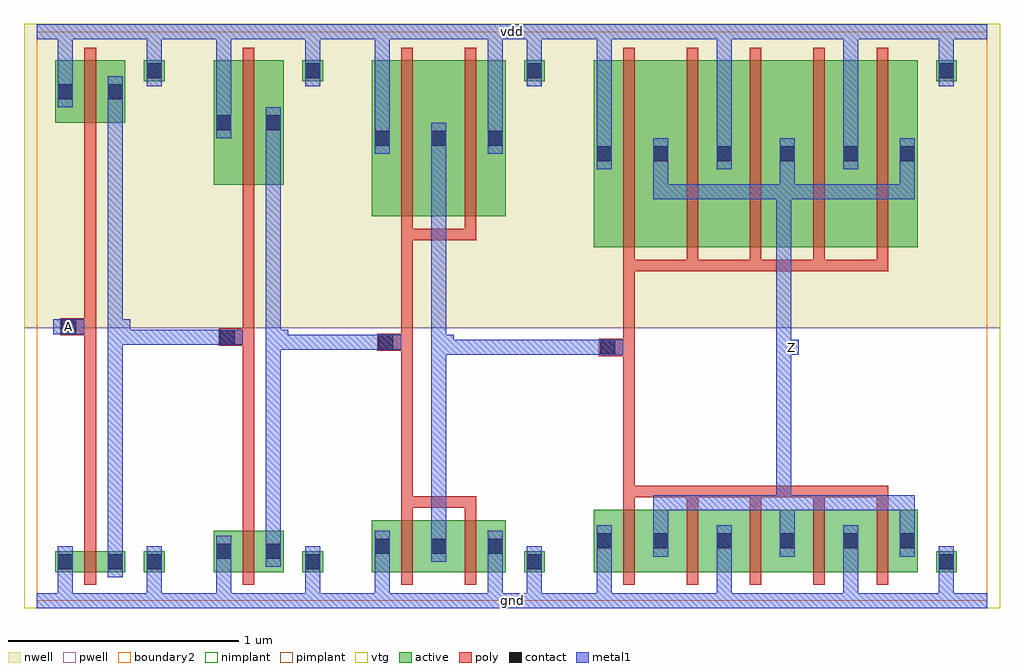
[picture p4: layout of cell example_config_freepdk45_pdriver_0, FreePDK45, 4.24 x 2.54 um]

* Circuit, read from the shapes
.subckt example_config_freepdk45_pdriver_0 A Z gnd vdd
M1 example_config_freepdk45_pinv_6_1/A A gnd gnd nfet w=0.09u l=0.05u
M2 example_config_freepdk45_pinv_7_2/A example_config_freepdk45_pinv_6_1/A gnd gnd nfet w=0.18u l=0.05u
M3 example_config_freepdk45_pinv_8_3/A example_config_freepdk45_pinv_7_2/A gnd gnd nfet w=0.225u l=0.05u m=2
M4 Z example_config_freepdk45_pinv_8_3/A gnd gnd nfet w=0.27u l=0.05u m=5
M5 example_config_freepdk45_pinv_6_1/A A vdd vdd pfet w=0.27u l=0.05u
M6 example_config_freepdk45_pinv_7_2/A example_config_freepdk45_pinv_6_1/A vdd vdd pfet w=0.54u l=0.05u
M7 example_config_freepdk45_pinv_8_3/A example_config_freepdk45_pinv_7_2/A vdd vdd pfet w=0.675u l=0.05u m=2
M8 Z example_config_freepdk45_pinv_8_3/A vdd vdd pfet w=0.81u l=0.05u m=5
.ends

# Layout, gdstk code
import gdstk
lib = gdstk.Library(unit=1e-6, precision=5e-10)
def R(c, l, rs):  # rectangles x0, y0, x1, y1
    for r in rs: c.add(gdstk.rectangle(r[:2], r[2:], *l))
def A(c, l, x, y, w, h, nx, ny, dx, dy):  # array of equal rectangles
    R(c, l, [(x+i*dx, y+j*dy, x+i*dx+w, y+j*dy+h) for i in range(nx) for j in range(ny)])
active = (1, 0)
pwell = (2, 0)
nwell = (3, 0)
nimplant = (4, 0)
pimplant = (5, 0)
vtg = (6, 0)
poly = (9, 0)
contact = (10, 0)
metal1 = (11, 0)
boundary2 = (239, 0)

example_config_freepdk45 = lib.new_cell('example_config_freepdk45_contact_11')
R(example_config_freepdk45, active, [(0,0.0225,0.09,0.1125)])
R(example_config_freepdk45, nwell, [(-0.055,-0.0325,0.145,0.1675)])
R(example_config_freepdk45, pimplant, [(0,0.0225,0.09,0.1125)])
R(example_config_freepdk45, contact, [(0.0125,0.035,0.0775,0.1)])
R(example_config_freepdk45, metal1, [(0.0125,0,0.0775,0.135)])
R(example_config_freepdk45, boundary2, [(-0.055,-0.0325,0.145,0.1675)])

c_example_config_freepdk45 = lib.new_cell('example_config_freepdk45_pmos_m1_w0_270_sm1_dm1_da_p')
R(c_example_config_freepdk45, active, [(0,0,0.305,0.27)])
R(c_example_config_freepdk45, nwell, [(-0.08,-0.08,0.385,0.35)])
R(c_example_config_freepdk45, pimplant, [(0,0,0.305,0.27)])
R(c_example_config_freepdk45, vtg, [(-0.08,-0.08,0.385,0.35)])
R(c_example_config_freepdk45, poly, [(0.1275,-0.055,0.1775,0.325), (0.1275,-0.055,0.1775,0.325)])
R(c_example_config_freepdk45, metal1, [(0.0125,0.0675,0.0775,0.2025), (0.2275,0.0675,0.2925,0.2025)])
R(c_example_config_freepdk45, boundary2, [(-0.08,-0.08,0.385,0.35)])
c_example_config_freepdk45.add(gdstk.Reference(example_config_freepdk45, (0,0.0675)))
c_example_config_freepdk45.add(gdstk.Reference(example_config_freepdk45, (0.215,0.0675)))
c_example_config_freepdk45.add(gdstk.Label('G', (0.1525,0.135), layer=9, texttype=0))
c_example_config_freepdk45.add(gdstk.Label('S', (0.045,0.135), layer=11, texttype=0))
c_example_config_freepdk45.add(gdstk.Label('D', (0.26,0.135), layer=11, texttype=0))

c_example_config_freepdk45_ = lib.new_cell('example_config_freepdk45_contact_10')
R(c_example_config_freepdk45_, active, [(0,0.0225,0.09,0.1125)])
R(c_example_config_freepdk45_, pwell, [(-0.055,-0.0325,0.145,0.1675)])
R(c_example_config_freepdk45_, nimplant, [(0,0.0225,0.09,0.1125)])
R(c_example_config_freepdk45_, contact, [(0.0125,0.035,0.0775,0.1)])
R(c_example_config_freepdk45_, metal1, [(0.0125,0,0.0775,0.135)])
R(c_example_config_freepdk45_, boundary2, [(-0.055,-0.0325,0.145,0.1675)])

c_example_config_freepdk45__ = lib.new_cell('example_config_freepdk45_nmos_m1_w0_090_sm1_dm1_da_p')
R(c_example_config_freepdk45__, active, [(0,0,0.305,0.09)])
R(c_example_config_freepdk45__, pwell, [(-0.08,-0.08,0.385,0.17)])
R(c_example_config_freepdk45__, nimplant, [(0,0,0.305,0.09)])
R(c_example_config_freepdk45__, vtg, [(-0.08,-0.08,0.385,0.17)])
R(c_example_config_freepdk45__, poly, [(0.1275,-0.055,0.1775,0.145), (0.1275,-0.055,0.1775,0.145)])
R(c_example_config_freepdk45__, metal1, [(0.0125,-0.0225,0.0775,0.1125), (0.2275,-0.0225,0.2925,0.1125)])
R(c_example_config_freepdk45__, boundary2, [(-0.08,-0.08,0.385,0.17)])
c_example_config_freepdk45__.add(gdstk.Reference(c_example_config_freepdk45_, (0,-0.0225)))
c_example_config_freepdk45__.add(gdstk.Reference(c_example_config_freepdk45_, (0.215,-0.0225)))
c_example_config_freepdk45__.add(gdstk.Label('G', (0.1525,0.045), layer=9, texttype=0))
c_example_config_freepdk45__.add(gdstk.Label('S', (0.045,0.045), layer=11, texttype=0))
c_example_config_freepdk45__.add(gdstk.Label('D', (0.26,0.045), layer=11, texttype=0))

c_example_config_freepdk45___ = lib.new_cell('example_config_freepdk45_contact_12')
R(c_example_config_freepdk45___, active, [(0,0.0225,0.09,0.1125)])
R(c_example_config_freepdk45___, nwell, [(-0.055,-0.0325,0.145,0.1675)])
R(c_example_config_freepdk45___, nimplant, [(0,0.0225,0.09,0.1125)])
R(c_example_config_freepdk45___, contact, [(0.0125,0.035,0.0775,0.1)])
R(c_example_config_freepdk45___, metal1, [(0.0125,0,0.0775,0.135)])
R(c_example_config_freepdk45___, boundary2, [(-0.055,-0.0325,0.145,0.1675)])

c_example_config_freepdk45____ = lib.new_cell('example_config_freepdk45_contact_13')
R(c_example_config_freepdk45____, active, [(0,0.0225,0.09,0.1125)])
R(c_example_config_freepdk45____, pwell, [(-0.055,-0.0325,0.145,0.1675)])
R(c_example_config_freepdk45____, pimplant, [(0,0.0225,0.09,0.1125)])
R(c_example_config_freepdk45____, contact, [(0.0125,0.035,0.0775,0.1)])
R(c_example_config_freepdk45____, metal1, [(0.0125,0,0.0775,0.135)])
R(c_example_config_freepdk45____, boundary2, [(-0.055,-0.0325,0.145,0.1675)])

c_example_config_freepdk45_____ = lib.new_cell('example_config_freepdk45_contact_14')
R(c_example_config_freepdk45_____, poly, [(0.03,0,0.105,0.075)])
R(c_example_config_freepdk45_____, contact, [(0.035,0.005,0.1,0.07)])
R(c_example_config_freepdk45_____, metal1, [(0,0.005,0.135,0.07)])
R(c_example_config_freepdk45_____, boundary2, [(0,0,0.135,0.075)])

c_example_config_freepdk45______ = lib.new_cell('example_config_freepdk45_pinv_5')
R(c_example_config_freepdk45______, pwell, [(-0.055,-0.0325,0.7425,1.185)])
R(c_example_config_freepdk45______, nwell, [(-0.055,1.185,0.7425,2.505)])
R(c_example_config_freepdk45______, vtg, [(-0.055,-0.0325,0.7425,1.185), (-0.055,1.185,0.7425,2.505)])
R(c_example_config_freepdk45______, poly, [(0.2075,0.27,0.2575,2.02), (0.14,1.1525,0.2075,1.2275)])
R(c_example_config_freepdk45______, metal1, [(0,-0.0325,0.6875,0.0325), (0.0925,-0.0325,0.1575,0.1025), (0.4775,0,0.5425,0.17), (0.3075,0.1025,0.3725,2.2775), (0.0725,1.1575,0.2075,1.2225), (0.34,1.1575,0.405,1.2225), (0.0925,2.1425,0.1575,2.5025), (0.4775,2.3,0.5425,2.47), (0,2.4375,0.6875,2.5025)])
R(c_example_config_freepdk45______, boundary2, [(0,0,0.6875,2.47), (0,0,0.6875,2.47)])
c_example_config_freepdk45______.add(gdstk.Reference(c_example_config_freepdk45, (0.08,2.075)))
c_example_config_freepdk45______.add(gdstk.Reference(c_example_config_freepdk45__, (0.08,0.125)))
c_example_config_freepdk45______.add(gdstk.Reference(c_example_config_freepdk45___, (0.465,2.2325)))
c_example_config_freepdk45______.add(gdstk.Reference(c_example_config_freepdk45____, (0.465,0.1025)))
c_example_config_freepdk45______.add(gdstk.Reference(c_example_config_freepdk45_____, (0.0725,1.1525)))
c_example_config_freepdk45______.add(gdstk.Label('A', (0.14,1.19), layer=11, texttype=0))
c_example_config_freepdk45______.add(gdstk.Label('Z', (0.3725,1.19), layer=11, texttype=0))
c_example_config_freepdk45______.add(gdstk.Label('gnd', (0.344,0), layer=11, texttype=0))
c_example_config_freepdk45______.add(gdstk.Label('vdd', (0.344,2.47), layer=11, texttype=0))

c_example_config_freepdk45_______ = lib.new_cell('example_config_freepdk45_pmos_m1_w0_540_sm1_dm1_da_p')
R(c_example_config_freepdk45_______, active, [(0,0,0.305,0.54)])
R(c_example_config_freepdk45_______, nwell, [(-0.08,-0.08,0.385,0.62)])
R(c_example_config_freepdk45_______, pimplant, [(0,0,0.305,0.54)])
R(c_example_config_freepdk45_______, vtg, [(-0.08,-0.08,0.385,0.62)])
R(c_example_config_freepdk45_______, poly, [(0.1275,-0.055,0.1775,0.595), (0.1275,-0.055,0.1775,0.595)])
R(c_example_config_freepdk45_______, metal1, [(0.0125,0.2025,0.0775,0.3375), (0.2275,0.2025,0.2925,0.3375)])
R(c_example_config_freepdk45_______, boundary2, [(-0.08,-0.08,0.385,0.62)])
c_example_config_freepdk45_______.add(gdstk.Reference(example_config_freepdk45, (0,0.2025)))
c_example_config_freepdk45_______.add(gdstk.Reference(example_config_freepdk45, (0.215,0.2025)))
c_example_config_freepdk45_______.add(gdstk.Label('G', (0.1525,0.27), layer=9, texttype=0))
c_example_config_freepdk45_______.add(gdstk.Label('S', (0.045,0.27), layer=11, texttype=0))
c_example_config_freepdk45_______.add(gdstk.Label('D', (0.26,0.27), layer=11, texttype=0))

c_example_config_freepdk45________ = lib.new_cell('example_config_freepdk45_nmos_m1_w0_180_sm1_dm1_da_p')
R(c_example_config_freepdk45________, active, [(0,0,0.305,0.18)])
R(c_example_config_freepdk45________, pwell, [(-0.08,-0.08,0.385,0.26)])
R(c_example_config_freepdk45________, nimplant, [(0,0,0.305,0.18)])
R(c_example_config_freepdk45________, vtg, [(-0.08,-0.08,0.385,0.26)])
R(c_example_config_freepdk45________, poly, [(0.1275,-0.055,0.1775,0.235), (0.1275,-0.055,0.1775,0.235)])
R(c_example_config_freepdk45________, metal1, [(0.0125,0.0225,0.0775,0.1575), (0.2275,0.0225,0.2925,0.1575)])
R(c_example_config_freepdk45________, boundary2, [(-0.08,-0.08,0.385,0.26)])
c_example_config_freepdk45________.add(gdstk.Reference(c_example_config_freepdk45_, (0,0.0225)))
c_example_config_freepdk45________.add(gdstk.Reference(c_example_config_freepdk45_, (0.215,0.0225)))
c_example_config_freepdk45________.add(gdstk.Label('G', (0.1525,0.09), layer=9, texttype=0))
c_example_config_freepdk45________.add(gdstk.Label('S', (0.045,0.09), layer=11, texttype=0))
c_example_config_freepdk45________.add(gdstk.Label('D', (0.26,0.09), layer=11, texttype=0))

c_example_config_freepdk45_________ = lib.new_cell('example_config_freepdk45_pinv_6')
R(c_example_config_freepdk45_________, pwell, [(-0.055,-0.0325,0.7425,1.185)])
R(c_example_config_freepdk45_________, nwell, [(-0.055,1.185,0.7425,2.505)])
R(c_example_config_freepdk45_________, vtg, [(-0.055,-0.0325,0.7425,1.185), (-0.055,1.185,0.7425,2.505)])
R(c_example_config_freepdk45_________, poly, [(0.2075,0.36,0.2575,1.75), (0.14,1.1075,0.2075,1.1825)])
R(c_example_config_freepdk45_________, metal1, [(0,-0.0325,0.6875,0.0325), (0.0925,-0.0325,0.1575,0.1475), (0.4775,0,0.5425,0.17), (0.3075,0.1475,0.3725,2.1425), (0.0725,1.1125,0.2075,1.1775), (0.34,1.1125,0.405,1.1775), (0.0925,2.0075,0.1575,2.5025), (0.4775,2.3,0.5425,2.47), (0,2.4375,0.6875,2.5025)])
R(c_example_config_freepdk45_________, boundary2, [(0,0,0.6875,2.47), (0,0,0.6875,2.47)])
c_example_config_freepdk45_________.add(gdstk.Reference(c_example_config_freepdk45_______, (0.08,1.805)))
c_example_config_freepdk45_________.add(gdstk.Reference(c_example_config_freepdk45________, (0.08,0.125)))
c_example_config_freepdk45_________.add(gdstk.Reference(c_example_config_freepdk45___, (0.465,2.2325)))
c_example_config_freepdk45_________.add(gdstk.Reference(c_example_config_freepdk45____, (0.465,0.1025)))
c_example_config_freepdk45_________.add(gdstk.Reference(c_example_config_freepdk45_____, (0.0725,1.1075)))
c_example_config_freepdk45_________.add(gdstk.Label('A', (0.14,1.145), layer=11, texttype=0))
c_example_config_freepdk45_________.add(gdstk.Label('Z', (0.3725,1.145), layer=11, texttype=0))
c_example_config_freepdk45_________.add(gdstk.Label('gnd', (0.344,0), layer=11, texttype=0))
c_example_config_freepdk45_________.add(gdstk.Label('vdd', (0.344,2.47), layer=11, texttype=0))

c_example_config_freepdk45__________ = lib.new_cell('example_config_freepdk45_pmos_m2_w0_675_sm1_dm1_da_p')
R(c_example_config_freepdk45__________, active, [(0,0,0.58,0.675)])
R(c_example_config_freepdk45__________, nwell, [(-0.08,-0.08,0.66,0.755)])
R(c_example_config_freepdk45__________, pimplant, [(0,0,0.58,0.675)])
R(c_example_config_freepdk45__________, vtg, [(-0.08,-0.08,0.66,0.755)])
R(c_example_config_freepdk45__________, poly, [(0.1275,-0.105,0.4525,-0.055), (0.1275,-0.055,0.1775,0.73), (0.4025,-0.055,0.4525,0.73)])
A(c_example_config_freepdk45__________, metal1, 0.0125, 0.27, 0.065, 0.135, 3, 1, 0.245, 0)
R(c_example_config_freepdk45__________, boundary2, [(-0.08,-0.105,0.66,0.755)])
c_example_config_freepdk45__________.add(gdstk.Reference(example_config_freepdk45, (0,0.27)))
c_example_config_freepdk45__________.add(gdstk.Reference(example_config_freepdk45, (0.245,0.27)))
c_example_config_freepdk45__________.add(gdstk.Reference(example_config_freepdk45, (0.49,0.27)))
c_example_config_freepdk45__________.add(gdstk.Label('G', (0.29,-0.08), layer=9, texttype=0))
c_example_config_freepdk45__________.add(gdstk.Label('S', (0.045,0.3375), layer=11, texttype=0))
c_example_config_freepdk45__________.add(gdstk.Label('S', (0.535,0.3375), layer=11, texttype=0))
c_example_config_freepdk45__________.add(gdstk.Label('D', (0.29,0.3375), layer=11, texttype=0))

c_example_config_freepdk45___________ = lib.new_cell('example_config_freepdk45_nmos_m2_w0_225_sm1_dm1_da_p')
R(c_example_config_freepdk45___________, active, [(0,0,0.58,0.225)])
R(c_example_config_freepdk45___________, pwell, [(-0.08,-0.08,0.66,0.305)])
R(c_example_config_freepdk45___________, nimplant, [(0,0,0.58,0.225)])
R(c_example_config_freepdk45___________, vtg, [(-0.08,-0.08,0.66,0.305)])
R(c_example_config_freepdk45___________, poly, [(0.1275,-0.055,0.1775,0.28), (0.4025,-0.055,0.4525,0.28), (0.1275,0.28,0.4525,0.33)])
A(c_example_config_freepdk45___________, metal1, 0.0125, 0.045, 0.065, 0.135, 3, 1, 0.245, 0)
R(c_example_config_freepdk45___________, boundary2, [(-0.08,-0.08,0.66,0.33)])
c_example_config_freepdk45___________.add(gdstk.Reference(c_example_config_freepdk45_, (0,0.045)))
c_example_config_freepdk45___________.add(gdstk.Reference(c_example_config_freepdk45_, (0.245,0.045)))
c_example_config_freepdk45___________.add(gdstk.Reference(c_example_config_freepdk45_, (0.49,0.045)))
c_example_config_freepdk45___________.add(gdstk.Label('G', (0.29,0.305), layer=9, texttype=0))
c_example_config_freepdk45___________.add(gdstk.Label('S', (0.535,0.1125), layer=11, texttype=0))
c_example_config_freepdk45___________.add(gdstk.Label('S', (0.045,0.1125), layer=11, texttype=0))
c_example_config_freepdk45___________.add(gdstk.Label('D', (0.29,0.1125), layer=11, texttype=0))

c_example_config_freepdk45____________ = lib.new_cell('example_config_freepdk45_pinv_7')
R(c_example_config_freepdk45____________, pwell, [(-0.055,-0.0325,1.0175,1.185)])
R(c_example_config_freepdk45____________, nwell, [(-0.055,1.185,1.0175,2.505)])
R(c_example_config_freepdk45____________, vtg, [(-0.055,-0.0325,1.0175,1.185), (-0.055,1.185,1.0175,2.505)])
R(c_example_config_freepdk45____________, poly, [(0.2075,0.455,0.2575,1.565), (0.14,1.085,0.2075,1.16)])
R(c_example_config_freepdk45____________, metal1, [(0,-0.0325,0.9625,0.0325), (0.0925,-0.0325,0.1575,0.17), (0.5825,-0.0325,0.6475,0.17), (0.7525,0,0.8175,0.17), (0.3375,0.17,0.4025,2.075), (0.0725,1.09,0.2075,1.155), (0.37,1.09,0.435,1.155), (0.0925,1.94,0.1575,2.5025), (0.5825,1.94,0.6475,2.5025), (0.7525,2.3,0.8175,2.47), (0,2.4375,0.9625,2.5025)])
R(c_example_config_freepdk45____________, boundary2, [(0,0,0.9625,2.47), (0,0,0.9625,2.47)])
c_example_config_freepdk45____________.add(gdstk.Reference(c_example_config_freepdk45__________, (0.08,1.67)))
c_example_config_freepdk45____________.add(gdstk.Reference(c_example_config_freepdk45___________, (0.08,0.125)))
c_example_config_freepdk45____________.add(gdstk.Reference(c_example_config_freepdk45___, (0.74,2.2325)))
c_example_config_freepdk45____________.add(gdstk.Reference(c_example_config_freepdk45____, (0.74,0.1025)))
c_example_config_freepdk45____________.add(gdstk.Reference(c_example_config_freepdk45_____, (0.0725,1.085)))
c_example_config_freepdk45____________.add(gdstk.Label('A', (0.14,1.1225), layer=11, texttype=0))
c_example_config_freepdk45____________.add(gdstk.Label('Z', (0.4025,1.1225), layer=11, texttype=0))
c_example_config_freepdk45____________.add(gdstk.Label('gnd', (0.481,0), layer=11, texttype=0))
c_example_config_freepdk45____________.add(gdstk.Label('vdd', (0.481,2.47), layer=11, texttype=0))

c_example_config_freepdk45_____________ = lib.new_cell('example_config_freepdk45_pmos_m5_w0_810_sm1_dm1_da_p')
R(c_example_config_freepdk45_____________, active, [(0,0,1.405,0.81)])
R(c_example_config_freepdk45_____________, nwell, [(-0.08,-0.08,1.485,0.89)])
R(c_example_config_freepdk45_____________, pimplant, [(0,0,1.405,0.81)])
R(c_example_config_freepdk45_____________, vtg, [(-0.08,-0.08,1.485,0.89)])
A(c_example_config_freepdk45_____________, poly, 0.1275, -0.055, 0.05, 0.92, 5, 1, 0.275, 0)
R(c_example_config_freepdk45_____________, poly, [(0.1275,-0.105,1.2775,-0.055)])
R(c_example_config_freepdk45_____________, metal1, [(0.2575,0.2075,1.3925,0.2725), (0.2575,0.24,0.3225,0.405), (0.8075,0.24,0.8725,0.405), (1.3275,0.24,1.3925,0.405), (0.0125,0.3375,0.0775,0.4725), (0.5325,0.3375,0.5975,0.4725), (1.0825,0.3375,1.1475,0.4725)])
R(c_example_config_freepdk45_____________, boundary2, [(-0.08,-0.105,1.485,0.89)])
c_example_config_freepdk45_____________.add(gdstk.Reference(example_config_freepdk45, (0,0.3375)))
c_example_config_freepdk45_____________.add(gdstk.Reference(example_config_freepdk45, (0.245,0.3375)))
c_example_config_freepdk45_____________.add(gdstk.Reference(example_config_freepdk45, (0.52,0.3375)))
c_example_config_freepdk45_____________.add(gdstk.Reference(example_config_freepdk45, (0.795,0.3375)))
c_example_config_freepdk45_____________.add(gdstk.Reference(example_config_freepdk45, (1.07,0.3375)))
c_example_config_freepdk45_____________.add(gdstk.Reference(example_config_freepdk45, (1.315,0.3375)))
c_example_config_freepdk45_____________.add(gdstk.Label('G', (0.7025,-0.08), layer=9, texttype=0))
c_example_config_freepdk45_____________.add(gdstk.Label('S', (0.565,0.405), layer=11, texttype=0))
c_example_config_freepdk45_____________.add(gdstk.Label('S', (0.045,0.405), layer=11, texttype=0))
c_example_config_freepdk45_____________.add(gdstk.Label('S', (1.115,0.405), layer=11, texttype=0))
c_example_config_freepdk45_____________.add(gdstk.Label('D', (0.825,0.24), layer=11, texttype=0))

c_example_config_freepdk45______________ = lib.new_cell('example_config_freepdk45_nmos_m5_w0_270_sm1_dm1_da_p')
R(c_example_config_freepdk45______________, active, [(0,0,1.405,0.27)])
R(c_example_config_freepdk45______________, pwell, [(-0.08,-0.08,1.485,0.35)])
R(c_example_config_freepdk45______________, nimplant, [(0,0,1.405,0.27)])
R(c_example_config_freepdk45______________, vtg, [(-0.08,-0.08,1.485,0.35)])
A(c_example_config_freepdk45______________, poly, 0.1275, -0.055, 0.05, 0.38, 5, 1, 0.275, 0)
R(c_example_config_freepdk45______________, poly, [(0.1275,0.325,1.2775,0.375)])
R(c_example_config_freepdk45______________, metal1, [(0.0125,0.0675,0.0775,0.2025), (0.5325,0.0675,0.5975,0.2025), (1.0825,0.0675,1.1475,0.2025), (0.2575,0.135,0.3225,0.3), (0.8075,0.135,0.8725,0.3), (1.3275,0.135,1.3925,0.3), (0.2575,0.2675,1.3925,0.3325)])
R(c_example_config_freepdk45______________, boundary2, [(-0.08,-0.08,1.485,0.375)])
c_example_config_freepdk45______________.add(gdstk.Reference(c_example_config_freepdk45_, (0,0.0675)))
c_example_config_freepdk45______________.add(gdstk.Reference(c_example_config_freepdk45_, (0.245,0.0675)))
c_example_config_freepdk45______________.add(gdstk.Reference(c_example_config_freepdk45_, (0.52,0.0675)))
c_example_config_freepdk45______________.add(gdstk.Reference(c_example_config_freepdk45_, (0.795,0.0675)))
c_example_config_freepdk45______________.add(gdstk.Reference(c_example_config_freepdk45_, (1.07,0.0675)))
c_example_config_freepdk45______________.add(gdstk.Reference(c_example_config_freepdk45_, (1.315,0.0675)))
c_example_config_freepdk45______________.add(gdstk.Label('G', (0.7025,0.35), layer=9, texttype=0))
c_example_config_freepdk45______________.add(gdstk.Label('S', (1.115,0.135), layer=11, texttype=0))
c_example_config_freepdk45______________.add(gdstk.Label('S', (0.045,0.135), layer=11, texttype=0))
c_example_config_freepdk45______________.add(gdstk.Label('S', (0.565,0.135), layer=11, texttype=0))
c_example_config_freepdk45______________.add(gdstk.Label('D', (0.825,0.3), layer=11, texttype=0))

c_example_config_freepdk45_______________ = lib.new_cell('example_config_freepdk45_pinv_8')
R(c_example_config_freepdk45_______________, pwell, [(-0.055,-0.0325,1.8425,1.185)])
R(c_example_config_freepdk45_______________, nwell, [(-0.055,1.185,1.8425,2.505)])
R(c_example_config_freepdk45_______________, vtg, [(-0.055,-0.0325,1.8425,1.185), (-0.055,1.185,1.8425,2.505)])
R(c_example_config_freepdk45_______________, poly, [(0.2075,0.5,0.2575,1.43), (0.14,1.0625,0.2075,1.1375)])
R(c_example_config_freepdk45_______________, metal1, [(0,-0.0325,1.7875,0.0325), (0.0925,-0.0325,0.1575,0.1925), (0.6125,-0.0325,0.6775,0.1925), (1.1625,-0.0325,1.2275,0.1925), (1.5775,0,1.6425,0.17), (0.8725,0.3925,0.9375,1.8075), (0.0725,1.0675,0.2075,1.1325), (0.905,1.0675,0.97,1.1325), (0.0925,1.8725,0.1575,2.5025), (0.6125,1.8725,0.6775,2.5025), (1.1625,1.8725,1.2275,2.5025), (1.5775,2.3,1.6425,2.47), (0,2.4375,1.7875,2.5025)])
R(c_example_config_freepdk45_______________, boundary2, [(0,0,1.7875,2.47), (0,0,1.7875,2.47)])
c_example_config_freepdk45_______________.add(gdstk.Reference(c_example_config_freepdk45_____________, (0.08,1.535)))
c_example_config_freepdk45_______________.add(gdstk.Reference(c_example_config_freepdk45______________, (0.08,0.125)))
c_example_config_freepdk45_______________.add(gdstk.Reference(c_example_config_freepdk45___, (1.565,2.2325)))
c_example_config_freepdk45_______________.add(gdstk.Reference(c_example_config_freepdk45____, (1.565,0.1025)))
c_example_config_freepdk45_______________.add(gdstk.Reference(c_example_config_freepdk45_____, (0.0725,1.0625)))
c_example_config_freepdk45_______________.add(gdstk.Label('A', (0.14,1.1), layer=11, texttype=0))
c_example_config_freepdk45_______________.add(gdstk.Label('Z', (0.9375,1.1), layer=11, texttype=0))
c_example_config_freepdk45_______________.add(gdstk.Label('gnd', (0.894,0), layer=11, texttype=0))
c_example_config_freepdk45_______________.add(gdstk.Label('vdd', (0.894,2.47), layer=11, texttype=0))

c_example_config_freepdk45________________ = lib.new_cell('example_config_freepdk45_pdriver_0')
R(c_example_config_freepdk45________________, pwell, [(-0.055,-0.0325,4.18,1.185)])
R(c_example_config_freepdk45________________, nwell, [(-0.055,1.185,4.18,2.505)])
R(c_example_config_freepdk45________________, vtg, [(-0.055,-0.0325,4.18,1.185), (-0.055,1.185,4.18,2.505)])
R(c_example_config_freepdk45________________, metal1, [(0,-0.0325,4.125,0.0325), (1.745,1.0675,1.81,1.1325), (1.7775,1.0675,2.4775,1.1325), (3.2425,1.0675,3.3075,1.1325), (1.0275,1.09,1.0925,1.155), (1.06,1.09,1.515,1.155), (1.745,1.1,1.81,1.1225), (0.34,1.1125,0.405,1.1775), (0.3725,1.1125,0.8275,1.1775), (1.0275,1.1225,1.0925,1.145), (0.34,1.145,0.405,1.19), (0.0725,1.1575,0.2075,1.2225), (0,2.4375,4.125,2.5025)])
R(c_example_config_freepdk45________________, boundary2, [(0,0,4.125,2.47), (0,0,4.125,2.47)])
c_example_config_freepdk45________________.add(gdstk.Reference(c_example_config_freepdk45______, (0,0)))
c_example_config_freepdk45________________.add(gdstk.Reference(c_example_config_freepdk45_________, (0.6875,0)))
c_example_config_freepdk45________________.add(gdstk.Reference(c_example_config_freepdk45____________, (1.375,0)))
c_example_config_freepdk45________________.add(gdstk.Reference(c_example_config_freepdk45_______________, (2.3375,0)))
c_example_config_freepdk45________________.add(gdstk.Label('Z', (3.275,1.1), layer=11, texttype=0))
c_example_config_freepdk45________________.add(gdstk.Label('A', (0.14,1.19), layer=11, texttype=0))
c_example_config_freepdk45________________.add(gdstk.Label('gnd', (2.0625,0), layer=11, texttype=0))
c_example_config_freepdk45________________.add(gdstk.Label('vdd', (2.0625,2.47), layer=11, texttype=0))

lib.write_gds('example_config_freepdk45_pdriver_0.gds')
